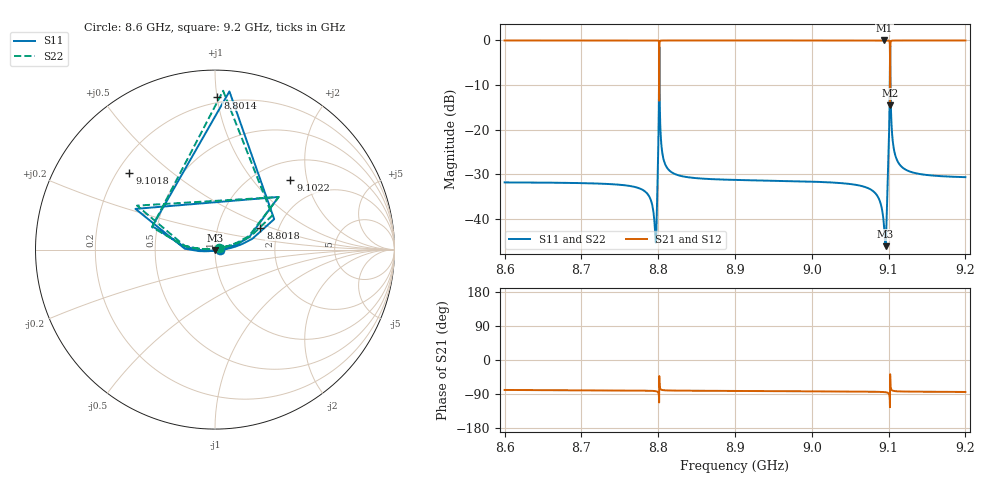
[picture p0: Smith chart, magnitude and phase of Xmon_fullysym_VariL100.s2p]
! Sonnet Data File
! From: emgraph Version : 16.52
! From Project: 171117_Xmon_fullysym
! Data is De-embedded
! Data File Written: 11/26/2017 21:44:46
!< HDATE 11/26/2017 17:24:49
!< MDATE 11/26/2017 17:24:49
!< PARAMS
!< Lj = 11.0
!< Gap = 1.0
!< Pwid = 2000.0
!< Airgap = 6.0
!< Width = 10.0
!< Lj1 = 10.0
!< END PARAMS
# GHZ S MA R 50.90000
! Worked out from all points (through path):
!   3001 points, 8.6 GHz to 9.2 GHz, reference 50.9 ohm
!   highest |S21| = 0.00 dB at 9.0946 GHz (marker M1); lowest = -14.6 dB at 9.102 GHz (marker M2)
!   lowest |S11| = -46.2 dB at 9.096 GHz (marker M3), VSWR 1.01, Z = 50.9 - j0.5 ohm
!   |S11| at or under -10 dB: start of sweep to 8.8011 GHz; 8.8018 GHz to 9.1015 GHz (299.8 MHz wide, 3.35 % of centre); 9.1025 GHz to end of sweep
!   |S22| runs from -45.9 to -1.0 dB; largest |S21 - S12| = 5.3e-11
!   S11 on the Smith chart (normalised r, x): 8.6 GHz: 1.05, -0.00; 8.8014 GHz: 0.17, +1.00; 8.8018 GHz: 1.61, +0.43; 9.1018 GHz: 0.25, +0.36; 9.1022 GHz: 1.38, +1.59; 9.2 GHz: 1.06, -0.01
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8.6  0.02553 -0.4  0.9997 -79.0  0.9997 -79.0  0.02553 22.3
!< P1 F=8.6 Eeff=(6.44845572 -2.9799e-5) Z0=(50.9087207 1.17006e-4) R=0.0 C=0.0
!< P2 F=8.6 Eeff=(6.44845572 -2.9799e-5) Z0=(50.9087207 1.17006e-4) R=0.0 C=0.0
8.7  0.02507 -1.8  0.9997 -80.0  0.9997 -80.0  0.02507 21.8
8.779  0.02123 -5.2  0.9998 -80.9  0.9998 -80.9  0.02124 23.4
8.7954  0.00847 -31.1  0.9999 -81.9  0.9999 -81.9  0.00855 48.0
8.7974  0.0062 -112.0  0.9998 -82.5  0.9998 -82.5  0.00644 125.8
8.8002  0.07121 -172.6  0.9959 -86.4  0.9959 -86.4  0.07144 177.3
8.8014  0.8478 89.1  0.2114 -42.5  0.2114 -42.5  0.8494 87.9
8.8018  0.2811 25.9  0.9482 -66.0  0.9482 -66.0  0.2815 26.8
8.8082  0.04269 3.4  0.999 -79.9  0.999 -79.9  0.04271 16.9
8.818  0.03294 0.4  0.9994 -80.6  0.9994 -80.6  0.03294 18.4
8.9002  0.02722 -2.9  0.9996 -81.7  0.9996 -81.7  0.02722 19.5
9.0002  0.02603 -4.6  0.9997 -82.7  0.9997 -82.7  0.02603 19.2
9.0772  0.02113 -8.4  0.9998 -83.7  0.9998 -83.7  0.02114 21.0
9.0946  0.007062 -40.2  0.9999 -84.7  0.9999 -84.7  0.007145 51.4
9.096  0.004915 -87.6  0.9999 -85.1  0.9999 -85.1  0.005092 97.5
9.1  0.05542 -175.0  0.9977 -88.3  0.9977 -88.3  0.05556 176.9
9.1018  0.6403 138.1  0.6988 -124.6  0.6988 -124.6  0.6411 139.6
9.102  0.8852 84.8  0.1863 -37.3  0.1863 -37.3  0.8862 87.1
9.1022  0.5711 42.7  0.7765 -50.4  0.7765 -50.4  0.5717 45.6
9.109  0.05043 1.0  0.9987 -82.3  0.9987 -82.3  0.05044 14.6
9.1192  0.03687 -2.1  0.9993 -83.2  0.9993 -83.2  0.03687 15.8
9.2  0.02924 -5.5  0.9996 -84.4  0.9996 -84.4  0.02924 16.8
